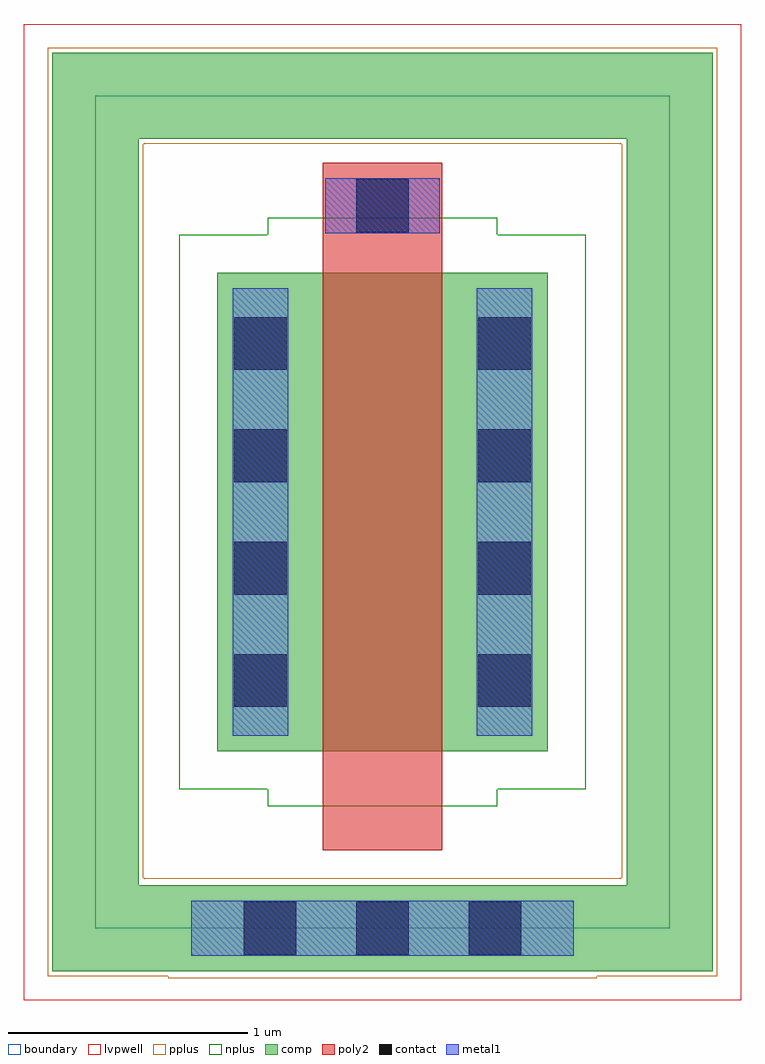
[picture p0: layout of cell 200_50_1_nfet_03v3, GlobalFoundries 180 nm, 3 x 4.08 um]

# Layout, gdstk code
import gdstk
lib = gdstk.Library(unit=1e-6, precision=1e-09)
def R(c, l, rs):  # rectangles x0, y0, x1, y1
    for r in rs: c.add(gdstk.rectangle(r[:2], r[2:], *l))
def A(c, l, x, y, w, h, nx, ny, dx, dy):  # array of equal rectangles
    R(c, l, [(x+i*dx, y+j*dy, x+i*dx+w, y+j*dy+h) for i in range(nx) for j in range(ny)])
boundary = (0, 0)
comp = (22, 0)
poly2 = (30, 0)
pplus = (31, 0)
nplus = (32, 0)
contact = (33, 0)
metal1 = (34, 0)
lvpwell = (204, 0)

c_200_50_1_nfet_03v3 = lib.new_cell('200_50_1_nfet_03v3')
R(c_200_50_1_nfet_03v3, boundary, [(-1.2,-1.74,1.2,1.74)])
R(c_200_50_1_nfet_03v3, comp, [(-1.38,-1.92,1.38,-1.56), (-1.38,-1.56,-1.02,1.56), (1.02,-1.56,1.38,1.56), (-0.69,-1,0.69,1), (-1.38,1.56,1.38,1.92)])
R(c_200_50_1_nfet_03v3, poly2, [(-0.25,-1.415,0.25,1.46)])
R(c_200_50_1_nfet_03v3, pplus, [(-0.895,-1.95,0.895,-1.94), (-1.4,-1.94,1.4,-1.53), (-1.4,-1.53,-1,1.54), (1,-1.53,1.4,1.54), (-1.4,1.54,1.4,1.94)])
R(c_200_50_1_nfet_03v3, nplus, [(-0.48,-1.23,0.48,-1.16), (-0.85,-1.16,0.85,1.16), (-0.48,1.16,0.48,1.23)])
A(c_200_50_1_nfet_03v3, contact, -0.58, -1.85, 0.22, 0.22, 3, 1, 0.47, 0)
A(c_200_50_1_nfet_03v3, contact, -0.62, -0.815, 0.22, 0.22, 1, 4, 0, 0.47)
A(c_200_50_1_nfet_03v3, contact, 0.4, -0.815, 0.22, 0.22, 1, 4, 0, 0.47)
R(c_200_50_1_nfet_03v3, contact, [(-0.11,1.17,0.11,1.39)])
R(c_200_50_1_nfet_03v3, metal1, [(-0.8,-1.855,0.8,-1.625), (-0.625,-0.935,-0.395,0.935), (0.395,-0.935,0.625,0.935), (-0.24,1.165,0.24,1.395)])
R(c_200_50_1_nfet_03v3, lvpwell, [(-1.5,-2.04,1.5,2.04)])

lib.write_gds('200_50_1_nfet_03v3.gds')
